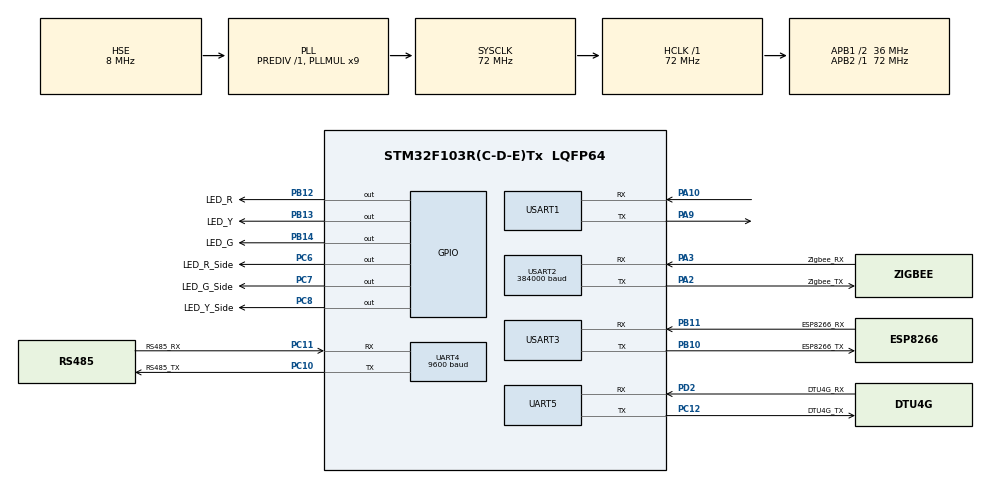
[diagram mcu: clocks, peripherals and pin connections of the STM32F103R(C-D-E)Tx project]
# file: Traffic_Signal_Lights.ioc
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Mcu.Family=STM32F1
Mcu.Name=STM32F103R(C-D-E)Tx
Mcu.Package=LQFP64
NVIC.PriorityGroup=NVIC_PRIORITYGROUP_4
NVIC.TIM5_IRQn=true\:0\:0\:false\:false\:true\:true\:true
NVIC.TIM6_IRQn=true\:0\:0\:false\:false\:true\:true\:true
NVIC.TIM7_IRQn=true\:0\:0\:false\:false\:true\:false\:true
NVIC.TimeBase=TIM7_IRQn
NVIC.TimeBaseIP=TIM7
NVIC.UART5_IRQn=true\:0\:0\:false\:false\:true\:true\:true
PA10.Mode=Asynchronous
PA10.Signal=USART1_RX
PA13.Mode=Serial_Wire
PA13.Signal=SYS_JTMS-SWDIO
PA14.Mode=Serial_Wire
PA14.Signal=SYS_JTCK-SWCLK
PA2.GPIO_Label=Zigbee_TX
PA2.Mode=Asynchronous
PA2.Signal=USART2_TX
PA3.GPIO_Label=Zigbee_RX
PA3.Mode=Asynchronous
PA3.Signal=USART2_RX
PA9.Mode=Asynchronous
PA9.Signal=USART1_TX
PB10.GPIO_Label=ESP8266_TX
PB10.Mode=Asynchronous
PB10.Signal=USART3_TX
PB11.GPIO_Label=ESP8266_RX
PB11.Mode=Asynchronous
PB11.Signal=USART3_RX
PB12.GPIO_Label=LED_R
PB12.GPIO_PuPd=GPIO_PULLUP
PB12.Signal=GPIO_Output
PB13.GPIO_Label=LED_Y
PB13.GPIO_PuPd=GPIO_PULLUP
PB13.Signal=GPIO_Output
PB14.GPIO_Label=LED_G
PB14.GPIO_PuPd=GPIO_PULLUP
PB14.Signal=GPIO_Output
PC10.GPIO_Label=RS485_TX
PC10.Mode=Asynchronous
PC10.Signal=UART4_TX
PC11.GPIO_Label=RS485_RX
PC11.Mode=Asynchronous
PC11.Signal=UART4_RX
PC12.GPIO_Label=DTU4G_TX
PC12.Mode=Asynchronous
PC12.Signal=UART5_TX
PC14-OSC32_IN.Mode=LSE-External-Oscillator
PC14-OSC32_IN.Signal=RCC_OSC32_IN
PC15-OSC32_OUT.Mode=LSE-External-Oscillator
PC15-OSC32_OUT.Signal=RCC_OSC32_OUT
PC6.GPIO_Label=LED_R_Side
PC6.GPIO_PuPd=GPIO_PULLUP
PC6.Signal=GPIO_Output
PC7.GPIO_Label=LED_G_Side
PC7.GPIO_PuPd=GPIO_PULLUP
PC7.Signal=GPIO_Output
PC8.GPIO_Label=LED_Y_Side
PC8.GPIO_PuPd=GPIO_PULLUP
PC8.Signal=GPIO_Output
PD0-OSC_IN.Mode=HSE-External-Oscillator
PD0-OSC_IN.Signal=RCC_OSC_IN
PD1-OSC_OUT.Mode=HSE-External-Oscillator
PD1-OSC_OUT.Signal=RCC_OSC_OUT
PD2.GPIO_Label=DTU4G_RX
PD2.Mode=Asynchronous
PD2.Signal=UART5_RX
ProjectManager.HeapSize=0x200
ProjectManager.StackSize=0x400
ProjectManager.TargetToolchain=STM32CubeIDE
RCC.AHBFreq_Value=72000000
RCC.APB1CLKDivider=RCC_HCLK_DIV2
RCC.APB1Freq_Value=36000000
RCC.APB1TimFreq_Value=72000000
RCC.APB2Freq_Value=72000000
RCC.APB2TimFreq_Value=72000000
RCC.EnbaleCSS=true
RCC.HCLKFreq_Value=72000000
RCC.PLLMUL=RCC_PLL_MUL9
RCC.PLLSourceVirtual=RCC_PLLSOURCE_HSE
RCC.SYSCLKFreq_VALUE=72000000
RCC.SYSCLKSource=RCC_SYSCLKSOURCE_PLLCLK
RCC.USBFreq_Value=72000000
TIM5.Period=3000-1
TIM5.Prescaler=7200-1
TIM6.AutoReloadPreload=TIM_AUTORELOAD_PRELOAD_ENABLE
TIM6.Period=10000-1
TIM6.Prescaler=7200-1
UART4.BaudRate=9600
UART4.VirtualMode=Asynchronous
UART5.VirtualMode=Asynchronous
USART1.VirtualMode=VM_ASYNC
USART2.BaudRate=384000
USART2.VirtualMode=VM_ASYNC
USART3.VirtualMode=VM_ASYNC
VP_SYS_VS_tim7.Mode=TIM7
VP_TIM5_VS_ClockSourceINT.Mode=Internal
VP_TIM6_VS_ClockSourceINT.Mode=Enable_Timer
board=custom

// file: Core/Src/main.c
/* USER CODE BEGIN Header */
/**
 ******************************************************************************
 * @file           : main.c
 * @brief          : Main program body
 ******************************************************************************
 * @attention
 *
 * <h2><center>&copy; Copyright (c) 2020 STMicroelectronics.
 * All rights reserved.</center></h2>
 *
 * This software component is licensed by ST under BSD 3-Clause license,
 * the "License"; You may not use this file except in compliance with the
 * License. You may obtain a copy of the License at:
 *                        opensource.org/licenses/BSD-3-Clause
 *
 ******************************************************************************
 */
/* USER CODE END Header */
#include "main.h"
#include "tim.h"
#include "usart.h"
#include "gpio.h"

/* USER CODE BEGIN Includes */
#include "ESP8266.h"
#include "atk_m750.h"
#include "light.h"
/* USER CODE END Includes */

void SystemClock_Config(void);

/* USER CODE BEGIN 0 */
uint8_t UART5_Rx_Cnt = 0;
uint8_t UART5_RxBuff[MAX_REC_LENGTH] = {0}; // UART5 message frames buff
uint8_t UART5_Rx_Flag = 0;
/* USER CODE END 0 */

int main(void)
{

  /* MCU Configuration--------------------------------------------------------*/

  /* Reset of all peripherals, Initializes the Flash interface and the Systick. */
  HAL_Init();

  /* Configure the system clock */
  SystemClock_Config();

  /* Initialize all configured peripherals */
  MX_GPIO_Init();
  MX_TIM6_Init();
  MX_UART4_Init();
  MX_UART5_Init();
  MX_USART1_UART_Init();
  MX_USART2_UART_Init();
  MX_USART3_UART_Init();
  MX_TIM5_Init();
  /* USER CODE BEGIN 2 */
  Light_init();
  HAL_TIM_Base_Start_IT(&htim5);
  // atk_8266_init();

  //  /*
  //   *  @arg        DTU_WORKMODE_NET,       0,  缂冩垹绮堕柅蹇庣炊濡€崇础
  //   *  @arg        DTU_WORKMODE_HTTP,      1,  http闁繋绱跺Ο鈥崇础
  //   *  @arg        DTU_WORKMODE_MQTT,      2,  mqtt闁繋绱跺Ο鈥崇础
  //   *  @arg        DTU_WORKMODE_ALIYUN,    3,
  //   闂冨潡鍣锋禍鎴�????閿熸垝绱跺Ο鈥崇础
  //   *  @arg        DTU_WORKMODE_ONENET,    4,  OneNET闁繋绱跺Ο鈥崇础
  //   *  @arg        DTU_WORKMODE_BAIDUYUN,  5,
  //   閻ф儳瀹虫禍鎴嫹?閿熸垝绱跺Ο鈥崇础
  //   */
  //
  //  while (dtu_config_init(DTU_WORKMODE_NET) != 0)
  //  /*閸掓繂顫愰崠鏈孴U閻ㄥ嫬浼愭担婊冨棘閿燂拷?*/
  //  {
  //    //printf("ATK-DTU Init Fail ...\r\n");
  //    HAL_Delay(2000);
  //  }
  /* USER CODE END 2 */

  /* Infinite loop */
  while (1) {

    /* USER CODE BEGIN 3 */
    Light_Data_Transmit();
    HAL_Delay(300);
  }
  /* USER CODE END 3 */
}

void SystemClock_Config(void)
{
  RCC_OscInitTypeDef RCC_OscInitStruct = {0};
  RCC_ClkInitTypeDef RCC_ClkInitStruct = {0};

  /** Initializes the RCC Oscillators according to the specified parameters
  * in the RCC_OscInitTypeDef structure.
  */
  RCC_OscInitStruct.OscillatorType = RCC_OSCILLATORTYPE_HSE;
  RCC_OscInitStruct.HSEState = RCC_HSE_ON;
  RCC_OscInitStruct.HSEPredivValue = RCC_HSE_PREDIV_DIV1;
  RCC_OscInitStruct.HSIState = RCC_HSI_ON;
  RCC_OscInitStruct.PLL.PLLState = RCC_PLL_ON;
  RCC_OscInitStruct.PLL.PLLSource = RCC_PLLSOURCE_HSE;
  RCC_OscInitStruct.PLL.PLLMUL = RCC_PLL_MUL9;
  if (HAL_RCC_OscConfig(&RCC_OscInitStruct) != HAL_OK)
  {
    Error_Handler();
  }
  /** Initializes the CPU, AHB and APB buses clocks
  */
  RCC_ClkInitStruct.ClockType = RCC_CLOCKTYPE_HCLK|RCC_CLOCKTYPE_SYSCLK
                              |RCC_CLOCKTYPE_PCLK1|RCC_CLOCKTYPE_PCLK2;
  RCC_ClkInitStruct.SYSCLKSource = RCC_SYSCLKSOURCE_PLLCLK;
  RCC_ClkInitStruct.AHBCLKDivider = RCC_SYSCLK_DIV1;
  RCC_ClkInitStruct.APB1CLKDivider = RCC_HCLK_DIV2;
  RCC_ClkInitStruct.APB2CLKDivider = RCC_HCLK_DIV1;

  if (HAL_RCC_ClockConfig(&RCC_ClkInitStruct, FLASH_LATENCY_2) != HAL_OK)
  {
    Error_Handler();
  }
  /** Enables the Clock Security System
  */
  HAL_RCC_EnableCSS();
}

void HAL_TIM_PeriodElapsedCallback(TIM_HandleTypeDef *htim)
{
  /* USER CODE BEGIN Callback 0 */
  if (htim->Instance == TIM5) {
    if (Light.Light_status == Light_Status_Red_Flashing) {
      HAL_GPIO_TogglePin(LED_R_GPIO_Port, LED_R_Pin);

      /* Side LAMP */
      HAL_GPIO_TogglePin(LED_Y_Side_GPIO_Port, LED_Y_Side_Pin);
      HAL_GPIO_WritePin(LED_R_Side_GPIO_Port, LED_R_Side_Pin, GPIO_PIN_RESET);
      HAL_GPIO_WritePin(LED_G_Side_GPIO_Port, LED_G_Side_Pin, GPIO_PIN_RESET);
    } else if (Light.Light_status == Light_Status_Yellow_Flashing) {
      HAL_GPIO_TogglePin(LED_Y_GPIO_Port, LED_Y_Pin);

      /* Side LAMP */
      HAL_GPIO_TogglePin(LED_R_Side_GPIO_Port, LED_R_Side_Pin);
    } else if (Light.Light_status == Light_Status_Green_Flashing) {
      HAL_GPIO_TogglePin(LED_G_GPIO_Port, LED_G_Pin);
    }
    if (((Light.Light_time > Light.Light_Yellow_time) &&
         (Light.Light_time < Light.Light_Yellow_time + 4)) &&
        (Light.Light_status == Light_Status_Red_ON)) {

      /* Side LAMP */
      HAL_GPIO_TogglePin(LED_G_Side_GPIO_Port, LED_G_Side_Pin);
      HAL_GPIO_WritePin(LED_R_Side_GPIO_Port, LED_R_Side_Pin, GPIO_PIN_RESET);
      HAL_GPIO_WritePin(LED_Y_Side_GPIO_Port, LED_Y_Side_Pin, GPIO_PIN_RESET);
    }
  }
  if (htim->Instance == TIM6) {
    Light.Light_time--;

    if (Light.Light_time > 0 &&
        Light.Light_time < (Light.Light_Yellow_time + 1)) {
      if (Light.Light_status == Light_Status_Red_ON) {
        Light.Light_status = Light_Status_Red_Flashing;
      } else if (Light.Light_status == Light_Status_Green_ON) {
        Light.Light_status = Light_Status_Green_Flashing;
      }
    }
    if (Light.Light_time == 0) {
      if (Light.Light_status == Light_Status_Red_Flashing) {
        Light.Light_status = Light_Status_Green_ON;
        Light.Light_time = Light.Light_Green_time;
        HAL_GPIO_WritePin(LED_R_GPIO_Port, LED_R_Pin, GPIO_PIN_RESET);
        HAL_GPIO_WritePin(LED_Y_GPIO_Port, LED_Y_Pin, GPIO_PIN_RESET);
        HAL_GPIO_WritePin(LED_G_GPIO_Port, LED_G_Pin, GPIO_PIN_SET);

        /* Side LAMP */
        HAL_GPIO_WritePin(LED_R_Side_GPIO_Port, LED_R_Side_Pin, GPIO_PIN_SET);
        HAL_GPIO_WritePin(LED_Y_Side_GPIO_Port, LED_Y_Side_Pin, GPIO_PIN_RESET);
        HAL_GPIO_WritePin(LED_G_Side_GPIO_Port, LED_G_Side_Pin, GPIO_PIN_RESET);
      } else if (Light.Light_status == Light_Status_Green_Flashing) {
        Light.Light_status = Light_Status_Yellow_Flashing;
        Light.Light_time = Light.Light_Yellow_time;
        HAL_GPIO_WritePin(LED_R_GPIO_Port, LED_R_Pin, GPIO_PIN_RESET);
        HAL_GPIO_WritePin(LED_Y_GPIO_Port, LED_Y_Pin, GPIO_PIN_SET);
        HAL_GPIO_WritePin(LED_G_GPIO_Port, LED_G_Pin, GPIO_PIN_RESET);

        /* Side LAMP */
        HAL_GPIO_WritePin(LED_R_Side_GPIO_Port, LED_R_Side_Pin, GPIO_PIN_SET);
        HAL_GPIO_WritePin(LED_Y_Side_GPIO_Port, LED_Y_Side_Pin, GPIO_PIN_RESET);
        HAL_GPIO_WritePin(LED_G_Side_GPIO_Port, LED_G_Side_Pin, GPIO_PIN_RESET);
      } else if (Light.Light_status == Light_Status_Yellow_Flashing) {
        Light.Light_status = Light_Status_Red_ON;
        Light.Light_time = Light.Light_Red_time;
        HAL_GPIO_WritePin(LED_R_GPIO_Port, LED_R_Pin, GPIO_PIN_SET);
        HAL_GPIO_WritePin(LED_Y_GPIO_Port, LED_Y_Pin, GPIO_PIN_RESET);
        HAL_GPIO_WritePin(LED_G_GPIO_Port, LED_G_Pin, GPIO_PIN_RESET);

        /* Side LAMP */
        HAL_GPIO_WritePin(LED_R_Side_GPIO_Port, LED_R_Side_Pin, GPIO_PIN_RESET);
        HAL_GPIO_WritePin(LED_Y_Side_GPIO_Port, LED_Y_Side_Pin, GPIO_PIN_RESET);
        HAL_GPIO_WritePin(LED_G_Side_GPIO_Port, LED_G_Side_Pin, GPIO_PIN_SET);
      }
    }
  }

  /* USER CODE END Callback 0 */
  if (htim->Instance == TIM7) {
    HAL_IncTick();
  }
  /* USER CODE BEGIN Callback 1 */
}
void HAL_UART_RxCpltCallback(UART_HandleTypeDef *huart) {
  if (huart->Instance == UART5) {
    if (0xA5 == Transmit_Buff[0]) {
      UART5_Rx_Cnt = 0;
    }
    UART5_RxBuff[UART5_Rx_Cnt] = Transmit_Buff[0];
    UART5_Rx_Cnt++;

    if (UART5_Rx_Cnt == 40) {
      UART5_Rx_Cnt = 0;
      UART5_Rx_Flag = 1;
    }
    // if (UART5_Rx_Flag == 1) {
    // }
    if (UART5_Rx_Cnt >= MAX_REC_LENGTH) {
      UART5_Rx_Cnt = 0;
      UART5_Rx_Flag = 0;
      memset(UART5_RxBuff, 0x00, sizeof(UART5_RxBuff));
    }
    // RingBuffer_In(p_uart3_rxbuf, &uart_temp, 1);
    HAL_UART_Receive_IT(&huart5, &uart_temp, 1);
  }

  /* USER CODE END Callback 1 */
}

void Error_Handler(void)
{
}

#ifdef  USE_FULL_ASSERT
/**
  * @brief  Reports the name of the source file and the source line number
  *         where the assert_param error has occurred.
  * @param  file: pointer to the source file name
  * @param  line: assert_param error line source number
  * @retval None
  */
void assert_failed(uint8_t *file, uint32_t line)
{
  /* USER CODE BEGIN 6 */
  /* User can add his own implementation to report the file name and line
     number,
     tex: printf("Wrong parameters value: file %s on line %d\r\n", file, line)
   */
  /* USER CODE END 6 */
}
#endif /* USE_FULL_ASSERT */

/************************ (C) COPYRIGHT STMicroelectronics *****END OF FILE****/
